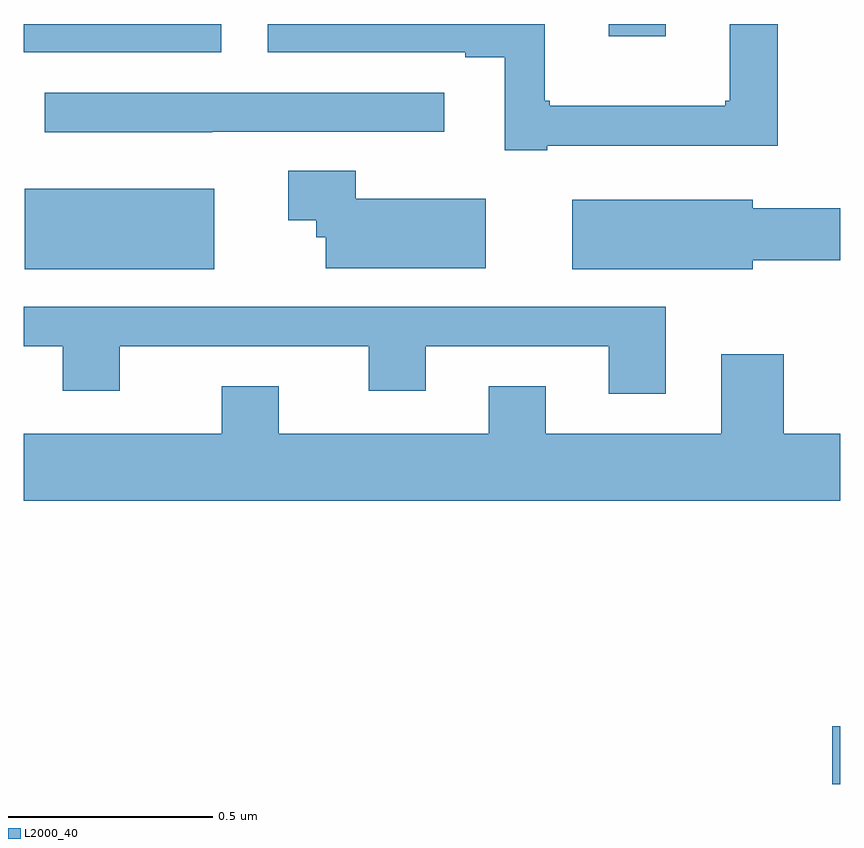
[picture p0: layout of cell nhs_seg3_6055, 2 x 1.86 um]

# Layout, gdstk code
import gdstk
lib = gdstk.Library(unit=1e-6, precision=1e-09)
def R(c, l, rs):  # rectangles x0, y0, x1, y1
    for r in rs: c.add(gdstk.rectangle(r[:2], r[2:], *l))
def P(c, l, *ps):  # polygons
    for p in ps: c.add(gdstk.Polygon(p, *l))
L2000_40 = (2000, 40)

nhs_seg3_6055 = lib.new_cell('nhs_seg3_6055')
R(nhs_seg3_6055, L2000_40, [(187.98,717.538,188,717.68), (186.002,718.799,186.466,718.996), (186,719.331,186.484,719.4), (187.433,719.37,187.573,719.4)])
P(nhs_seg3_6055, L2000_40, [(187.282,719.102),(187.847,719.102),(187.847,719.4),(187.73,719.4),(187.73,719.212),(187.719,719.212),(187.719,719.2),(187.288,719.2),(187.288,719.212),(187.276,719.212),(187.276,719.4),(186.597,719.4),(186.597,719.331),(187.082,719.331),(187.082,719.319),(187.178,719.319),(187.178,719.091),(187.282,719.091)],
  [(186.462,719.136),(187.03,719.136),(187.03,719.232),(186.051,719.232),(186.051,719.135),(186.462,719.135)],
  [(187.132,718.972),(186.813,718.972),(186.813,719.041),(186.648,719.041),(186.648,718.919),(186.717,718.919),(186.717,718.878),(186.74,718.878),(186.74,718.802),(187.132,718.802)],
  [(187.786,718.821),(188,718.821),(188,718.949),(187.786,718.949),(187.786,718.969),(187.343,718.969),(187.343,718.799),(187.786,718.799)],
  [(187.573,718.707),(186,718.707),(186,718.611),(186.095,718.611),(186.095,718.502),(186.235,718.502),(186.235,718.611),(186.845,718.611),(186.845,718.502),(186.985,718.502),(186.985,718.611),(187.433,718.611),(187.433,718.494),(187.573,718.494)],
  [(188,718.396),(187.862,718.396),(187.862,718.591),(187.709,718.591),(187.709,718.396),(187.279,718.396),(187.279,718.513),(187.139,718.513),(187.139,718.396),(186.625,718.396),(186.625,718.513),(186.485,718.513),(186.485,718.396),(186,718.396),(186,718.232),(188,718.232)])

lib.write_gds('nhs_seg3_6055.gds')
